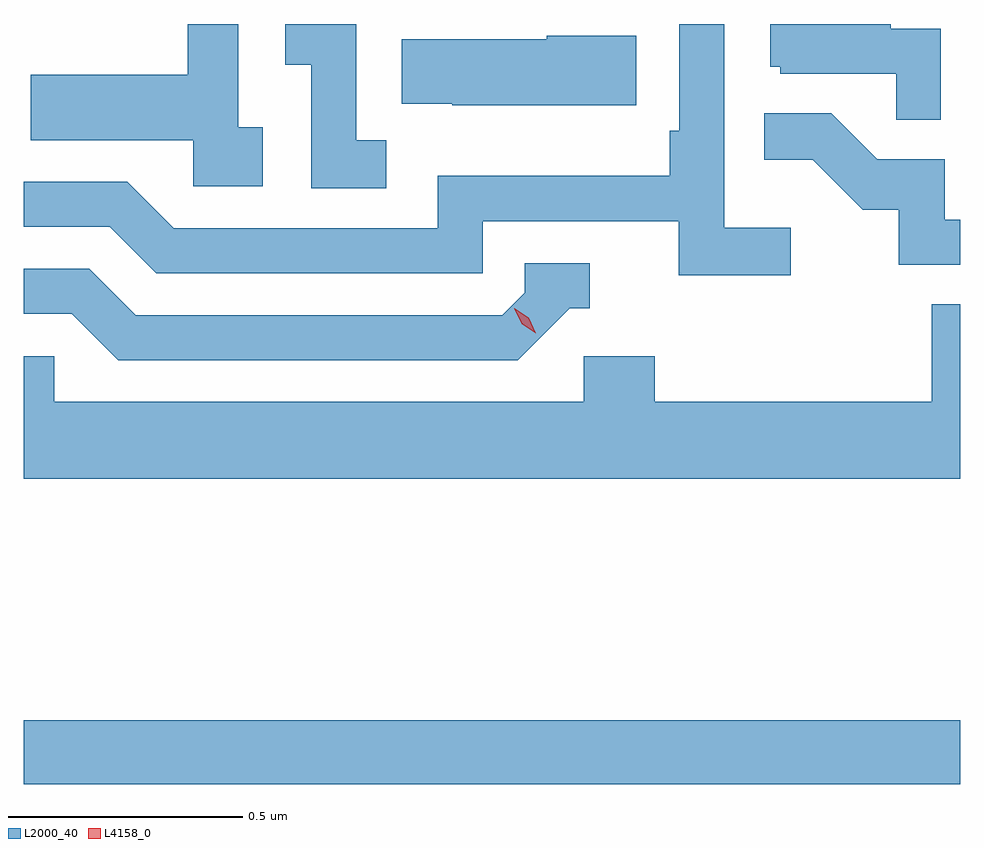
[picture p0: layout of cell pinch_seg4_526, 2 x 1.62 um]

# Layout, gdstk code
import gdstk
lib = gdstk.Library(unit=1e-6, precision=1e-09)
def R(c, l, rs):  # rectangles x0, y0, x1, y1
    for r in rs: c.add(gdstk.rectangle(r[:2], r[2:], *l))
def P(c, l, *ps):  # polygons
    for p in ps: c.add(gdstk.Polygon(p, *l))
L2000_40 = (2000, 40)
L4158_0 = (4158, 0)

pinch_seg4_526 = lib.new_cell('pinch_seg4_526')
R(pinch_seg4_526, L2000_40, [(973.384,750.88,975.384,751.016)])
P(pinch_seg4_526, L2000_40, [(974.158,752.255),(974.094,752.255),(974.094,752.503),(973.943,752.503),(973.943,752.416),(973.998,752.416),(973.998,752.152),(974.158,752.152)],
  [(975.022,752.068),(974.88,752.068),(974.88,752.503),(974.784,752.503),(974.784,752.275),(974.764,752.275),(974.764,752.179),(974.268,752.179),(974.268,752.067),(973.704,752.067),(973.605,752.166),(973.384,752.166),(973.384,752.07),(973.568,752.07),(973.667,751.971),(974.364,751.971),(974.364,752.082),(974.783,752.082),(974.783,751.966),(975.022,751.966)],
  [(975.342,752.493),(975.236,752.493),(975.236,752.503),(974.978,752.503),(974.978,752.412),(975,752.412),(975,752.397),(975.247,752.397),(975.247,752.299),(975.342,752.299)],
  [(973.894,752.282),(973.842,752.282),(973.842,752.503),(973.734,752.503),(973.734,752.395),(973.399,752.395),(973.399,752.255),(973.746,752.255),(973.746,752.157),(973.894,752.157)],
  [(974.692,752.478),(974.501,752.478),(974.501,752.47),(974.191,752.47),(974.191,752.333),(974.299,752.333),(974.299,752.33),(974.692,752.33)],
  [(975.384,752.085),(975.351,752.085),(975.351,752.214),(975.207,752.214),(975.109,752.312),(974.965,752.312),(974.965,752.213),(975.069,752.213),(975.176,752.106),(975.253,752.106),(975.253,751.989),(975.384,751.989)],
  [(974.55,751.896),(974.593,751.896),(974.593,751.992),(974.454,751.992),(974.454,751.929),(974.406,751.881),(973.623,751.881),(973.524,751.98),(973.384,751.98),(973.384,751.884),(973.487,751.884),(973.586,751.785),(974.439,751.785)],
  [(975.384,751.904),(975.323,751.904),(975.323,751.696),(974.732,751.696),(974.732,751.794),(974.58,751.794),(974.58,751.696),(973.449,751.696),(973.449,751.794),(973.384,751.794),(973.384,751.532),(975.384,751.532)])
P(pinch_seg4_526, L4158_0, [(974.477,751.843),(974.447,751.863),(974.431,751.896),(974.431,751.896),(974.431,751.896),(974.462,751.876),(974.477,751.843),(974.477,751.843)])

lib.write_gds('pinch_seg4_526.gds')
